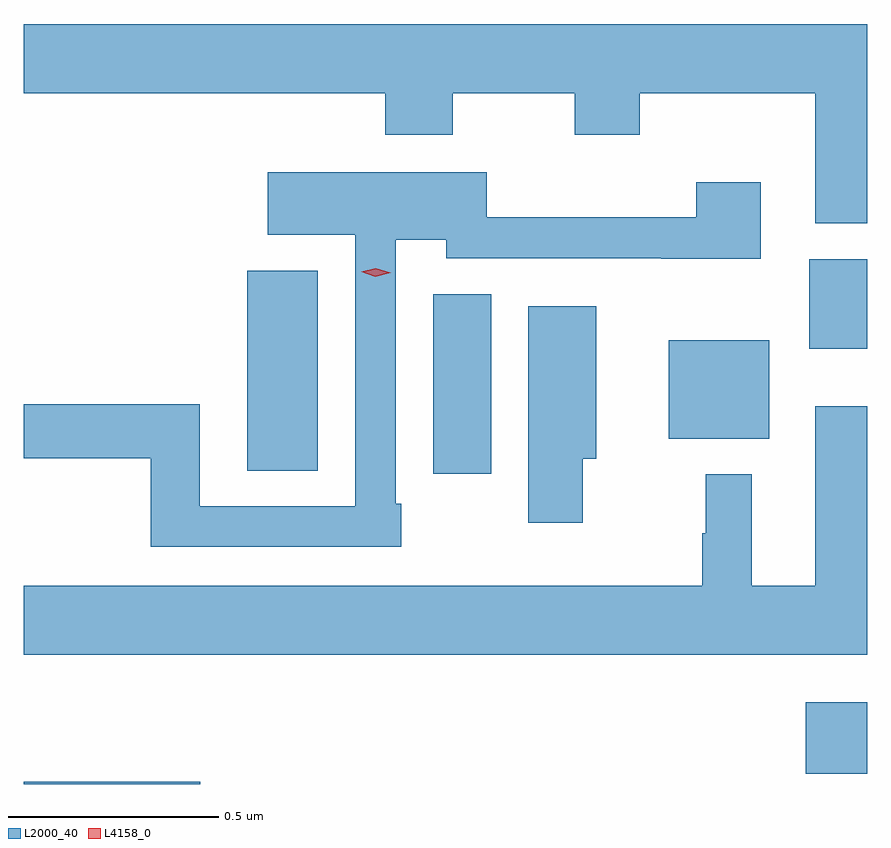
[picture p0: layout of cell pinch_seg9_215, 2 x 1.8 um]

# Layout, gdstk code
import gdstk
lib = gdstk.Library(unit=1e-6, precision=1e-09)
def R(c, l, rs):  # rectangles x0, y0, x1, y1
    for r in rs: c.add(gdstk.rectangle(r[:2], r[2:], *l))
def P(c, l, *ps):  # polygons
    for p in ps: c.add(gdstk.Polygon(p, *l))
L2000_40 = (2000, 40)
L4158_0 = (4158, 0)

pinch_seg9_215 = lib.new_cell('pinch_seg9_215')
R(pinch_seg9_215, L2000_40, [(593.292,1228.082,593.71,1228.087), (595.146,1228.106,595.292,1228.276), (594.263,1228.818,594.4,1229.243), (593.822,1228.825,593.989,1229.299), (594.821,1228.901,595.06,1229.134), (595.154,1229.114,595.292,1229.326)])
P(pinch_seg9_215, L2000_40, [(595.292,1229.884),(593.292,1229.884),(593.292,1229.72),(594.149,1229.72),(594.149,1229.621),(594.309,1229.621),(594.309,1229.72),(594.598,1229.72),(594.598,1229.621),(594.753,1229.621),(594.753,1229.72),(595.169,1229.72),(595.169,1229.411),(595.292,1229.411)],
  [(594.187,1228.747),(594.174,1228.747),(594.174,1229.372),(594.294,1229.372),(594.294,1229.328),(594.803,1229.328),(594.803,1229.327),(595.039,1229.327),(595.039,1229.509),(594.887,1229.509),(594.887,1229.426),(594.39,1229.426),(594.39,1229.533),(593.871,1229.533),(593.871,1229.384),(594.078,1229.384),(594.078,1228.74),(593.709,1228.74),(593.709,1228.982),(593.292,1228.982),(593.292,1228.854),(593.593,1228.854),(593.593,1228.644),(594.187,1228.644)],
  [(594.618,1228.853),(594.649,1228.853),(594.649,1229.215),(594.488,1229.215),(594.488,1228.701),(594.618,1228.701)],
  [(595.292,1228.978),(595.169,1228.978),(595.169,1228.552),(595.018,1228.552),(595.018,1228.816),(594.909,1228.816),(594.909,1228.676),(594.901,1228.676),(594.901,1228.552),(593.292,1228.552),(593.292,1228.388),(595.292,1228.388)])
P(pinch_seg9_215, L4158_0, [(594.126,1229.285),(594.092,1229.296),(594.092,1229.296),(594.092,1229.297),(594.127,1229.305),(594.162,1229.294),(594.162,1229.294),(594.162,1229.294)])

lib.write_gds('pinch_seg9_215.gds')
